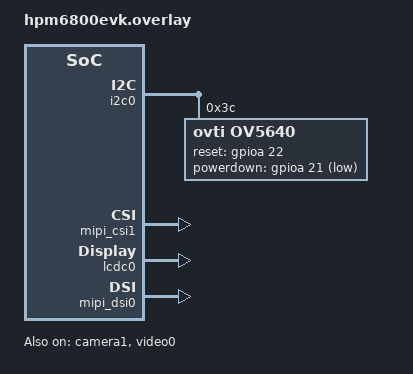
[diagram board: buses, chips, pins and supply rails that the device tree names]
/*
 * Copyright 2024 HPMicro
 * SPDX-License-Identifier: Apache-2.0
 */
 
/ {
    chosen {
        zephyr,display = &panel_mc10128007;
        zephyr,camera = &video0;
    };
};

&adc0 {
	status = "disabled";
};


&i2c0 {
	status = "okay";
	pinctrl-0 = <&pinmux_i2c0>;
	pinctrl-names = "default";

	ov5640: ov5640@3c {
		compatible = "ovti,ov5640";
		reg = <0x3c>;
		status = "okay";

		reset-gpios = <&gpioa 22 GPIO_ACTIVE_HIGH>;
		powerdown-gpios = <&gpioa 21 GPIO_ACTIVE_LOW>;
	};

};

&mipi_csi1 {
	status = "okay";
};


&camera1 {
	status = "okay";
	interface = "mipi";
	pinctrl-0 = <&pinmux_mipi_csi1>;
	pinctrl-names = "default";
	mipi_csi_controller = <&mipi_csi1>;
	pixclk_sampling_falling = <0>;
	hsync_active_low = <0>;
	vsync_active_low = <0>;
};

&video0 {
	status = "okay";
	video_count = <1>;
	sensor = <&ov5640>;
	camera = <&camera1>;
};

&lcdc0 {
	status = "okay";
};

&mipi_dsi0 {
	status = "okay";
};

&panel_mc10128007 {
	status = "okay";
};


